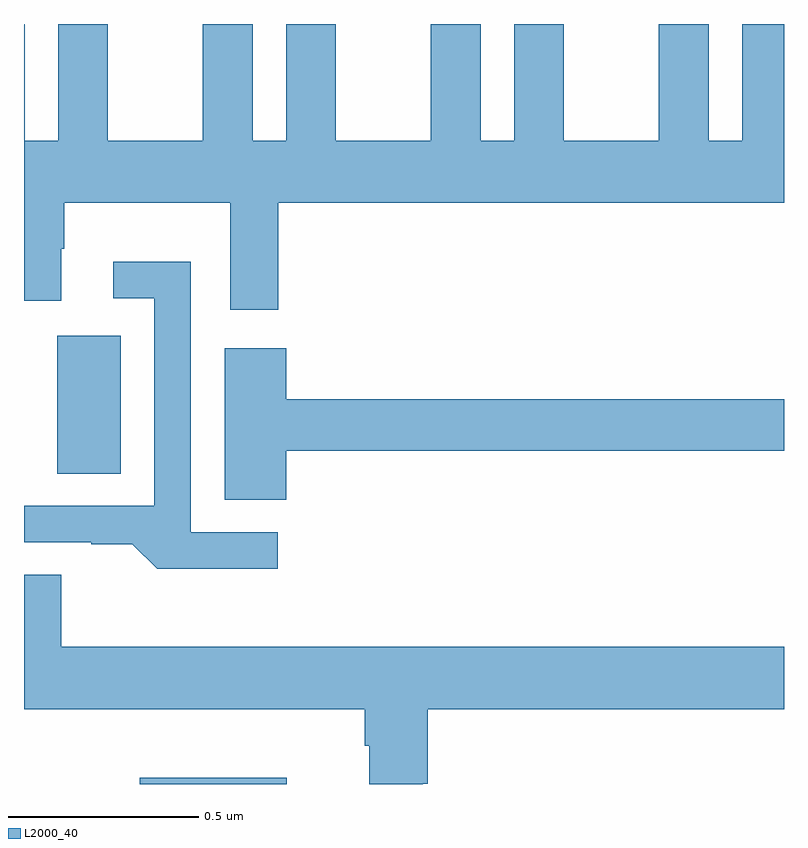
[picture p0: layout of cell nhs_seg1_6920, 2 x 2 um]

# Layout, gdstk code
import gdstk
lib = gdstk.Library(unit=1e-6, precision=1e-09)
def R(c, l, rs):  # rectangles x0, y0, x1, y1
    for r in rs: c.add(gdstk.rectangle(r[:2], r[2:], *l))
def P(c, l, *ps):  # polygons
    for p in ps: c.add(gdstk.Polygon(p, *l))
L2000_40 = (2000, 40)

nhs_seg1_6920 = lib.new_cell('nhs_seg1_6920')
R(nhs_seg1_6920, L2000_40, [(197.304,554.199,197.692,554.215), (197.087,555.016,197.254,555.379)])
P(nhs_seg1_6920, L2000_40, [(197.09,556.199),(197.09,555.892),(197.002,555.892),(197.002,556.199),(197,556.199),(197,555.471),(197.098,555.471),(197.098,555.608),(197.106,555.608),(197.106,555.728),(197.543,555.728),(197.543,555.447),(197.669,555.447),(197.669,555.728),(199,555.728),(199,556.199),(198.89,556.199),(198.89,555.892),(198.802,555.892),(198.802,556.199),(198.671,556.199),(198.671,555.892),(198.421,555.892),(198.421,556.199),(198.29,556.199),(198.29,555.892),(198.202,555.892),(198.202,556.199),(198.071,556.199),(198.071,555.892),(197.821,555.892),(197.821,556.199),(197.69,556.199),(197.69,555.892),(197.602,555.892),(197.602,556.199),(197.471,556.199),(197.471,555.892),(197.221,555.892),(197.221,556.199)],
  [(197.668,554.862),(197.439,554.862),(197.439,555.574),(197.235,555.574),(197.235,555.477),(197.343,555.477),(197.343,554.931),(197,554.931),(197,554.835),(197.177,554.835),(197.177,554.83),(197.285,554.83),(197.351,554.765),(197.668,554.765)],
  [(197.69,555.076),(199,555.076),(199,555.212),(197.69,555.212),(197.69,555.346),(197.528,555.346),(197.528,554.947),(197.69,554.947)],
  [(198.049,554.2),(198.062,554.2),(198.062,554.396),(199,554.396),(199,554.56),(197.098,554.56),(197.098,554.75),(197,554.75),(197,554.396),(197.897,554.396),(197.897,554.3),(197.909,554.3),(197.909,554.199),(198.049,554.199)])

lib.write_gds('nhs_seg1_6920.gds')
